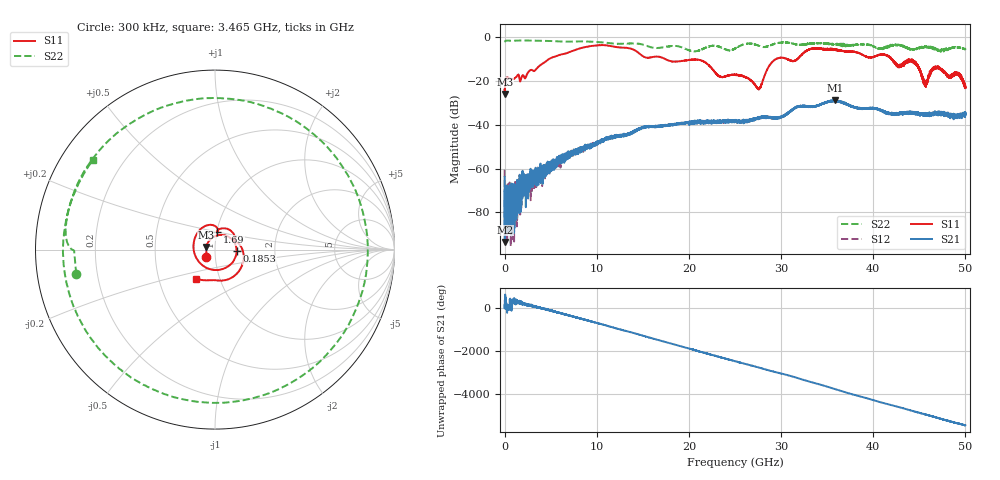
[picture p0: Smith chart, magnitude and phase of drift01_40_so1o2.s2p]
!Created with skrf (http://scikit-rf.org).
# Hz S RI R 50.0
!freq ReS11 ImS11 ReS21 ImS21 ReS12 ImS12 ReS22 ImS22
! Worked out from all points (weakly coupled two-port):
!   10001 points, 300 kHz to 50 GHz, reference 50 ohm
!   highest |S21| = -28.77 dB at 35.83 GHz (marker M1); lowest = -93.5 dB at 20.3 MHz (marker M2)
!   lowest |S11| = -25.8 dB at 5.3 MHz (marker M3), VSWR 1.11, Z = 45.3 + j1.4 ohm
!   |S11| at or under -10 dB: start of sweep to 4.765 GHz; 17.5 GHz to 29.4 GHz (11.9 GHz wide, 50.7 % of centre); 44.19 GHz to end of sweep (the widest 3 of 10)
!   |S22| runs from -6.6 to -1.4 dB; largest |S21 - S12| = 0.0041
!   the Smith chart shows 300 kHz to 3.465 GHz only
!   S11 on the Smith chart (normalised r, x): 300 kHz: 0.91, -0.08; 185.3 MHz: 1.27, -0.02; 1.69 GHz: 1.00, +0.20; 3.465 GHz: 0.77, -0.26
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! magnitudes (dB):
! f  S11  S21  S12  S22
! 300 kHz  -23.8  -63.8  -60.4  -2.1
! 5.3 MHz  -25.8  -75.4  -74.1  -2.1
! 20.3 MHz  -24.1  -93.5  -73.3  -1.9
! 185.3 MHz  -18.3  -78.0  -77.5  -1.4
! 450.3 MHz  -18.6  -83.7  -70.3  -1.4
! 1.69 GHz  -20.1  -70.8  -81.0  -1.4
! 3.465 GHz  -14.3  -64.2  -64.5  -1.5
! 8.335 GHz  -4.8  -51.7  -51.6  -1.8
! 16.67 GHz  -8.8  -40.6  -40.4  -4.8
! 25 GHz  -17.1  -38.3  -38.5  -5.1
! 27.58 GHz  -23.6  -37.0  -36.6  -3.8
! 29.29 GHz  -10.3  -36.8  -36.5  -2.9
! 31.45 GHz  -10.7  -32.3  -32.4  -3.0
! 33.34 GHz  -5.1  -31.7  -31.7  -2.7
! 35.83 GHz  -5.6  -28.8  -29.0  -3.3
! 41.67 GHz  -8.9  -34.7  -34.9  -4.6
! 42.79 GHz  -13.2  -34.6  -34.8  -3.7
! 44.42 GHz  -11.3  -34.7  -34.7  -5.3
! 45.63 GHz  -21.2  -35.6  -35.0  -4.4
! 46.96 GHz  -13.3  -34.4  -35.0  -5.7
! 49.26 GHz  -17.3  -36.4  -35.4  -4.7
! 50 GHz  -23.1  -34.6  -34.7  -5.3
